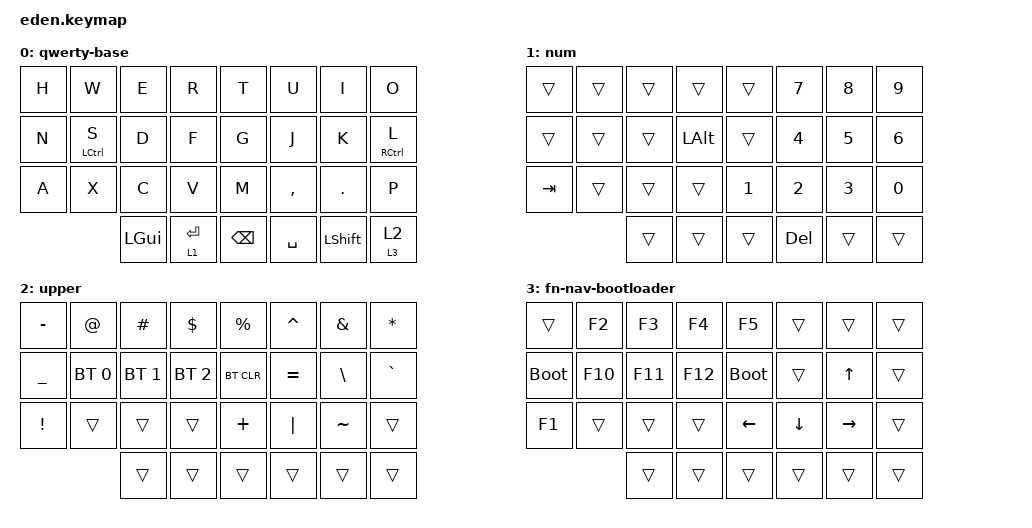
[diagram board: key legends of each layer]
#include <behaviors.dtsi>
#include <dt-bindings/zmk/bt.h>
#include <dt-bindings/zmk/keys.h>
#include "zmk-helpers/helper.h"
#include "zmk-helpers/key-labels/36.h"

#define KEYS_L LT0 LT1 LT2 LT3 LT4 LM0 LM1 LM2 LM3 LM4 LB0 LB1 LB2 LB3 LB4  // Left-hand keys.
#define KEYS_R RT0 RT1 RT2 RT3 RT4 RM0 RM1 RM2 RM3 RM4 RB0 RB1 RB2 RB3 RB4  // Right-hand keys.
#define THUMBS LH2 LH1 LH0 RH0 RH1 RH2 // thumb keys

/ {
    behaviors {
        /* Left-hand HRMs. */

        hml: hml {
            compatible = "zmk,behavior-hold-tap";
            label = "HML";
            #binding-cells = <2>;
            flavor = "balanced";
            tapping-term-ms = <280>;
            quick-tap-ms = <175>;
            require-prior-idle-ms = <150>;
            bindings = <&kp>, <&kp>;

            hold-trigger-key-positions = <KEYS_R THUMBS 16 17 9 1 2 10 18 24 25 26 12 19 4 11 3 27 28 29>;
            hold-trigger-on-release;
        };

        /* Right-hand HRMs. */

        hmr: hmr {
            compatible = "zmk,behavior-hold-tap";
            label = "HMR";
            #binding-cells = <2>;
            flavor = "balanced";
            tapping-term-ms = <280>;
            quick-tap-ms = <175>;
            require-prior-idle-ms = <150>;
            bindings = <&kp>, <&kp>;

            hold-trigger-key-positions = <KEYS_L THUMBS 27 26 25 24 28 29 23 22 21 20 8 0 13 5 6 15 7 14>;
            hold-trigger-on-release;
        };

        sh: sticky_hold {
            compatible = "zmk,behavior-hold-tap";
            label = "SH";
            bindings = <&mo>, <&sl>;

            #binding-cells = <2>;
            tapping-term-ms = <300>;
            quick-tap-ms = <0>;
            flavor = "tap-preferred";
        };
    };

    combos {
        compatible = "zmk,combos";

        par1 {
            bindings = <&kp LEFT_PARENTHESIS>;
            key-positions = <3 2>;
            layers = <0>;
        };

        par2 {
            bindings = <&kp RIGHT_PARENTHESIS>;
            key-positions = <6 5>;
            layers = <0>;
        };

        cur1 {
            bindings = <&kp LEFT_BRACE>;
            key-positions = <18 19>;
            layers = <0>;
        };

        cur2 {
            bindings = <&kp RIGHT_BRACE>;
            key-positions = <21 20>;
            layers = <0>;
        };

        bracket1 {
            bindings = <&kp LEFT_BRACKET>;
            key-positions = <11 10>;
            layers = <0>;
        };

        bracket2 {
            bindings = <&kp RIGHT_BRACKET>;
            key-positions = <13 14>;
            layers = <0>;
        };

        esc {
            bindings = <&kp ESCAPE>;
            key-positions = <1 2>;
            layers = <0>;
        };

        quotes {
            bindings = <&kp SINGLE_QUOTE>;
            key-positions = <23 15>;
            layers = <0>;
        };

        enter {
            bindings = <&kp ENTER>;
            key-positions = <15 13 14>;
            layers = <0>;
        };

        lower {
            bindings = <&mo 1>;
            key-positions = <20 21 22>;
            layers = <0>;
        };

        shift {
            bindings = <&kp LEFT_SHIFT>;
            key-positions = <11 10 9>;
            layers = <0>;
        };

        alt {
            bindings = <&kp LALT>;
            key-positions = <19 18 17>;
            layers = <0>;
        };

        // alpha keys

        q {
            bindings = <&kp Q>;
            key-positions = <16 9>;
            layers = <0>;
        };

        z {
            bindings = <&kp Z>;
            key-positions = <17 18>;
            layers = <0>;
        };

        b {
            bindings = <&kp B>;
            key-positions = <12 4>;
            layers = <0>;
        };

        y {
            bindings = <&kp Y>;
            key-positions = <0 8>;
            layers = <0>;
        };

        slash {
            bindings = <&kp SLASH>;
            key-positions = <22 21>;
            layers = <0>;
        };

        semicolon {
            bindings = <&kp SEMICOLON>;
            key-positions = <7 6>;
            layers = <0>;
        };
    };

    keymap {
        compatible = "zmk,keymap";

        qwerty-base {
            bindings = <
&kp H  &kp W                &kp E     &kp R        &kp T                &kp U      &kp I      &kp O
&kp N  &hml LEFT_CONTROL S  &kp D     &kp F        &kp G                &kp J      &kp K      &hmr RCTRL L
&kp A  &kp X                &kp C     &kp V                             &kp M      &kp COMMA  &kp DOT       &kp P
                            &kp LGUI  &lt 1 ENTER  &kp BSPC  &kp SPACE  &kp LSHFT  &sh 3 2
            >;
        };

        num {
            bindings = <
&trans   &trans  &trans  &trans        &trans           &kp N7  &kp N8  &kp N9
&trans   &trans  &trans  &kp LEFT_ALT  &trans           &kp N4  &kp N5  &kp N6
&kp TAB  &trans  &trans  &trans                         &kp N1  &kp N2  &kp N3  &kp N0
                 &trans  &trans        &trans  &kp DEL  &trans  &trans
            >;
        };

        upper {
            bindings = <
&kp MINUS        &kp AT        &kp HASH      &kp DOLLAR    &kp PERCENT          &kp CARET  &kp AMPERSAND  &kp ASTERISK
&kp UNDERSCORE   &bt BT_SEL 0  &bt BT_SEL 1  &bt BT_SEL 2  &bt BT_CLR           &kp EQUAL  &kp BSLH       &kp GRAVE
&kp EXCLAMATION  &trans        &trans        &trans                             &kp PLUS   &kp PIPE       &kp TILDE     &trans
                               &trans        &trans        &trans       &trans  &trans     &trans
            >;
        };

        fn-nav-bootloader {
            bindings = <
&trans       &kp F2   &kp F3   &kp F4   &kp F5               &trans    &trans    &trans
&bootloader  &kp F10  &kp F11  &kp F12  &bootloader          &trans    &kp UP    &trans
&kp F1       &trans   &trans   &trans                        &kp LEFT  &kp DOWN  &kp RIGHT  &trans
                      &trans   &trans   &trans       &trans  &trans    &trans
            >;
        };
    };
};
